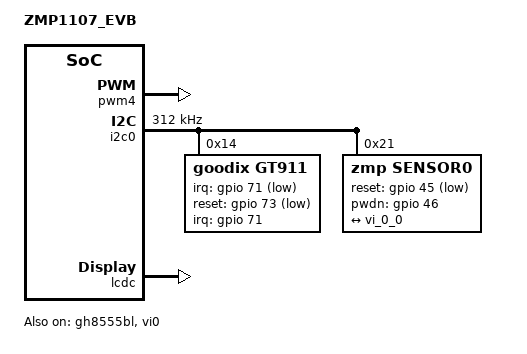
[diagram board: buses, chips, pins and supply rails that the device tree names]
/*
 * ZMP1107_EVB board dts
 *
 * This program is free software; you can redistribute it and/or modify
 * it under the terms of the GNU General Public License as published by
 * the Free Software Foundation; either version 2 of the License, or
 * (at your option) any later version.
 *
 * This program is distributed in the hope that it will be useful,
 * but WITHOUT ANY WARRANTY; without even the implied warranty of
 * MERCHANTABILITY or FITNESS FOR A PARTICULAR PURPOSE.  See the
 * GNU General Public License for more details.
 */

/dts-v1/;
#include "zmp1107.dtsi"
#include "zmp110x_lcd.dtsi"
#include "zmp110x_spi_nor.dtsi"
#include "zmp110x_evb.dtsi"

/ {
    compatible = "zlgmcu,zmp110x";
    model = "ZMP1107_EVB";
	version = "V1.0.00";

    mmc2_pwrseq: usdhc2_pwrseq {
        pinctrl-names = "default";
        pinctrl-0 = <&sdio_wifi_rst_pins>;
        compatible = "mmc-pwrseq-simple";
        reset-gpios = <&gpio 98 1>;
		post-power-on-delay-ms = <120>;
        status = "disable";
    };

    //使用ion的DMA区部分内存模拟块设备
    ramdisk:ramdisk{
        compatible = "zlgmcu,zmp110x-ramdisk";
        memory-region = <&dma_reserved>;
        status = "disable";
    };

    gpiokeys {
        compatible = "gpio-keys";
        //pinctrl-names = "default";
        //pinctrl-0 = <&gpio_keys>;
        #address-cells = <1>;
        #size-cells = <0>;
        autorepeat;
        status = "disable";
        button@21 {
            label = "GPIO Key UP";
            linux,code = <103>;
            //gpios = <&gpio 28 1>;
        };
    };
};

/*--------------------------------------ZMP110x 片内外设-----------------------------------------*/
/* MIPI LCD背光：LCD15，与RGB LCD IO冲突 */
&pwm4 {
    pinctrl-names = "default";
    pinctrl-0 = <&pwm4_pins>;
    period-ns = <1000000>;
    duty-ns = <1000000>;
    pwm-enable = <1>;
    status = "okay";
};

/*-----------------------------------------------板载外设------------------------------------------------*/
//WIFI SLOT：底板默认不焊接
&mmc2 {
    #address-cells = <1>;
	#size-cells = <0>;
    bus-width = <0x4>;
    max-frequency = <50000000>;
    non-removable;
    cap-sd-highspeed;
    no-1-8-v;
    mmc-pwrseq = <&mmc2_pwrseq>;
    pinctrl-names = "default";
    pinctrl-0 = <&mci2_pins>;
    status = "disabled";

    brcmf: wifi@1 {
        reg = <1>;
        brcm,drive-strength = <10>;
        compatible = "brcm,bcm4329-fmac";
    };
};

&i2c0 {
    pinctrl-names = "default";
    pinctrl-0 = <&i2c0_pins>;

    clock-frequency = <312000>;
    //clock-frequency = <117000>;
    sda-delay = <100>;
    status = "okay";
	#address-cells = <1>;
	#size-cells = <0>;
        
    //MIPI LCD触摸屏
    gt911@14 {
	    compatible = "goodix,gt911";
	    reg = <0x14>;
	    pinctrl-names = "default";
        pinctrl-0 = <&gt911_pins>;
        irq-gpio = <&gpio 71 1>;
        reset-gpio = <&gpio 73 1>;
        interrupts = <71 2>;
        interrupt-parent = <&gpio>;
        status = "okay";
	};
    /* ov7725 */
	sensor0: camera@21 {
		compatible = "zmp,sensor0";
		reg = <0x21>;
	    pinctrl-names = "default";
        pinctrl-0 = <&sensor0_pins>;
		reset-gpio = <&gpio 45 1>;
		pwdn-gpio = <&gpio 46 0>;
        status = "okay";
		port {
			sensor0_0: endpoint@0 {
				remote-endpoint = <&vi_0_0>;
			};
		};
	};
};

&lcdc {
    pinctrl-names = "default";
    pinctrl-0 = <&lcd_reset_pins>; //<&lcd_pins>,<&lcd_reset_pins>; //lcd_pins for rgb lcd, lcd_reset_pins only for mipi lcd
    reset-pins = <&gpio 72 1>; //only for mipi lcd
    
    lcd-logo-width = <570>;
    lcd-logo-height = <212>;
    //[fmt1:fmt0] 00 16bits input(RGB565 or BGR565)
    //[fmt1:fmt0] 01 24bits input(RGB888 or BGR888)
    //[fmt1:fmt0] 10 or 11 32bits input(ARGB888 ABGR888 RGBA888 BGRA888)
    lcd-logo-fmt0 = <1>;
    lcd-logo-fmt1 = <0>;
    lcd-logo-rgb-seq = <1>; //0 for BGR, 1 for RGB  -> output seq ;use for framebuffer rgbseq
    lcd-rgb-bg-color = <0xffffffff>; //bg color: white
    lcd-fb-type = <0>; //0:single buffer; 1:double buffer

    status = "okay";
};

// &jd9366 {
//      status = "okay";
// };

&gh8555bl {
    status = "okay";
};

&vi0{
	pinctrl-names = "dvp0_12bits", "dvp0_10bits", "dvp0_8bits",
		"mipi0_2lane", "mipi0_1lane", "mipi1_2lane", "mipi1_1lane",
		"csi0_sclk", "csi1_sclk";
    pinctrl-0 = <&dvp0_12bits_pins>;
    pinctrl-1 = <&dvp0_10bits_pins>;
    pinctrl-2 = <&dvp0_8bits_pins>;
    pinctrl-3 = <&mipi0_2lane_pins>;
    pinctrl-4 = <&mipi0_1lane_pins>;
    pinctrl-5 = <&mipi1_2lane_pins>;
    pinctrl-6 = <&mipi1_1lane_pins>;
    pinctrl-7 = <&csi0_sclk_pin>;
    pinctrl-8 = <&csi1_sclk_pin>;
    status = "okay";
	port@0 {
		#address-cells = <1>;
		#size-cells = <0>;

		vi_0_0: endpoint@0 {
			reg = <0>;
			remote-endpoint = <&sensor0_0>;
		};
	};
};


&gpio {
    /* zmp,function sharepin func index according to table 2-1 sharepin-list */
    /* index: 0: PIN default func, 1: FUNCTION1, 2: FUNCTION2, 3: FUNCTION3, 4: FUNCTION4 */
    /* zmp,pull config value bit[31:24]--slew rate, bit[23:16]--ie, bit[15:8]--drive, bit[7:0]--pupd config */
    /* bit[31:24]--slew rate, 0: slow, 1: fast */
    /* bit[23:16]--ie, input enable, 0: disable, 1: enable */
    /* bit[15:8]--drive, drive strength, 4levels value: 0x0-0x3 */
    /* bit[7:0]--bit[7]: open drain 0:disable, 1:enable (only for gpio31/32);
				pupd config, bit[6:4] 1:enable/ 0:disable, bit[3:0] 0:select PU /1:select PD */   
     
    pwm4_pins: pwm4_pins {
        zmp,pins = <90>;
        zmp,function = <2>;
        zmp,pull = <0x01011110>;
    };

    sdio_wifi_rst_pins:mmc_power_pins{
        zmp,pins = <98>;
	    zmp,function = <0>;
        zmp,pull = <0x01010310>;
    };

    gt911_pins: gt9112_pins {
        zmp,pins = <71 73>;
        zmp,function = <0>;
        zmp,pull = <0x01010000 0x01000311>;//71->INT:浮空输入，73->RST:下拉输出
    };

    i2c0_pins: i2c0_pins {
        zmp,pins = <31 32>;
        zmp,function = <1>;
        zmp,pull = <0x01010380>;/* i2c0的引脚改为开漏输出 */
    };

    mci1_pins: mci1_pins {
        zmp,pins = <43 44 45 46 47 48>;
        zmp,function = <1>;
        zmp,pull = <0x10010 0x10000 0x10010 0x10010 0x10010 0x10010>; /* 4 line */
    };

    mci2_pins: mci2_pins {
        zmp,pins = <91 92 93 94 95 96>;
        zmp,function = <2 2 3 3 3 3>;
        zmp,pull = <0x01010010 0x01010010 0x01010010 0x01010010 0x01010010 0x01010010>;
    };

    lcd_reset_pins: lcd_reset_pins {
	    zmp,pins = <72>;
	    zmp,function = <0>;
        zmp,pull = <0x01000310>;
    };

    ts_irq_pins:ts_irq_pins {
        zmp,pins = <78>;
        zmp,function = <0>;
        zmp,pull = <0x01010111>;
    };

    /* camera相关 */
    dvp0_12bits_pins: dvp0_12bits_pins {
        zmp,pins = <25 26 27 28 111 112 113 114 115 116 117 118 119 120 121 122>;
        zmp,function = <1>;
        zmp,pull = <0x01010310>;
    };

    dvp0_10bits_pins: dvp0_10bits_pins {
        zmp,pins = <25 26 27 28 111 112 113 114 115 116 117 118 119 120 121 122>;
        zmp,function = <1>;
        zmp,pull = <0x01010310>;
    };

    dvp0_8bits_pins: dvp0_8bits_pins {
        zmp,pins = <25 26 27 28 111 112 113 114 115 116 117 118 119 120 121 122>;
        zmp,function = <1>;
        zmp,pull = <0x01010310>;
    };

    mipi0_2lane_pins: mipi0_2lane_pins {
        zmp,pins = <25 111 112 113 114 115 116>;
        zmp,function = <1 2 2 2 2 2 2>;
        zmp,pull = <0x01010310>;
    };

    mipi0_1lane_pins: mipi0_1lane_pins {
        zmp,pins = <25 111 112 113 114>;
        zmp,function = <1 2 2 2 2>;
        zmp,pull = <0x01010310>;
    };

    mipi1_2lane_pins: mipi1_2lane_pins {
        zmp,pins = <26 117 118 119 120 121 122>;
        zmp,function = <1 2 2 2 2 2 2>;
        zmp,pull = <0x01010310>;
    };

    mipi1_1lane_pins: mipi1_1lane_pins {
        zmp,pins = <26 117 118 119 120>;
        zmp,function = <1 2 2 2 2>;
        zmp,pull = <0x01010310>;
    };

    csi0_sclk_pin: csi0_sclk_pin {
        zmp,pins = <25>;
        zmp,function = <1>;
        zmp,pull = <0x01010310>;
    };

    csi1_sclk_pin: csi1_sclk_pin {
        zmp,pins = <26>;
        zmp,function = <1>;
        zmp,pull = <0x01010310>;
    };

    sensor0_pins: sensor0_pins {
        zmp,pins = <45 46>;
	    zmp,function = <0>;
        zmp,pull = <0x01000310 0x01000311>;
    };
};
